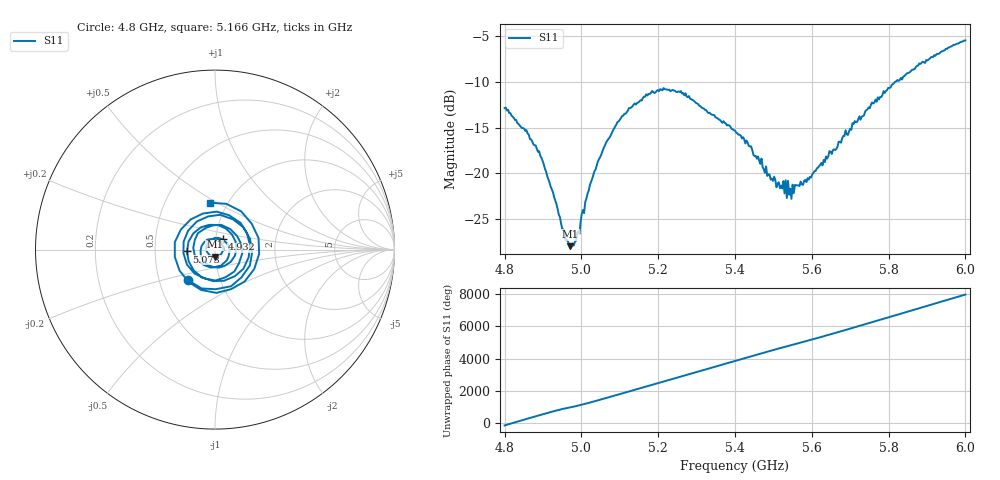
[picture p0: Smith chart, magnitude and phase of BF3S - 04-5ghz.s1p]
! NanoVNA-App
! Date: 2026-05-22 16:33:38
! Start: 4.8GHz Stop: 6GHz Points: 401
! S-Parameter data: F S11
# Hz S RI R 50
!  Frequency  S11_Real  S11_Imag
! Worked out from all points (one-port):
!   401 points, 4.8 GHz to 6 GHz, reference 50 ohm
!   lowest |S11| = -27.9 dB at 4.971 GHz (marker M1), VSWR 1.08, Z = 49.7 - j3.98 ohm
!   |S11| at or under -10 dB: start of sweep to 5.817 GHz
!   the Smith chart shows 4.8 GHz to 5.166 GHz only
!   S11 on the Smith chart (normalised r, x): 4.8 GHz: 0.70, -0.25; 4.932 GHz: 1.08, +0.12; 5.073 GHz: 0.73, -0.02; 5.166 GHz: 0.82, +0.46
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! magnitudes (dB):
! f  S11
! 4.8 GHz  -12.9
! 4.857 GHz  -15.3
! 4.884 GHz  -17.3
! 4.896 GHz  -18.3
! 4.932 GHz  -23.0
! 4.95 GHz  -26.0
! 4.962 GHz  -27.3
! 4.971 GHz  -27.9
! 4.98 GHz  -27.9
! 4.989 GHz  -26.5
! 5.028 GHz  -20.6
! 5.073 GHz  -16.1
! 5.1 GHz  -14.1
! 5.166 GHz  -11.6
! 5.211 GHz  -10.9
! 5.25 GHz  -11.1
! 5.4 GHz  -15.3
! 5.436 GHz  -17.0
! 5.49 GHz  -20.1
! 5.514 GHz  -21.0
! 5.538 GHz  -20.8
! 5.541 GHz  -22.3
! 5.55 GHz  -21.2
! 5.592 GHz  -20.7
! 5.7 GHz  -15.1
! 5.76 GHz  -12.4
! 5.85 GHz  -9.0
! 6 GHz  -5.5
